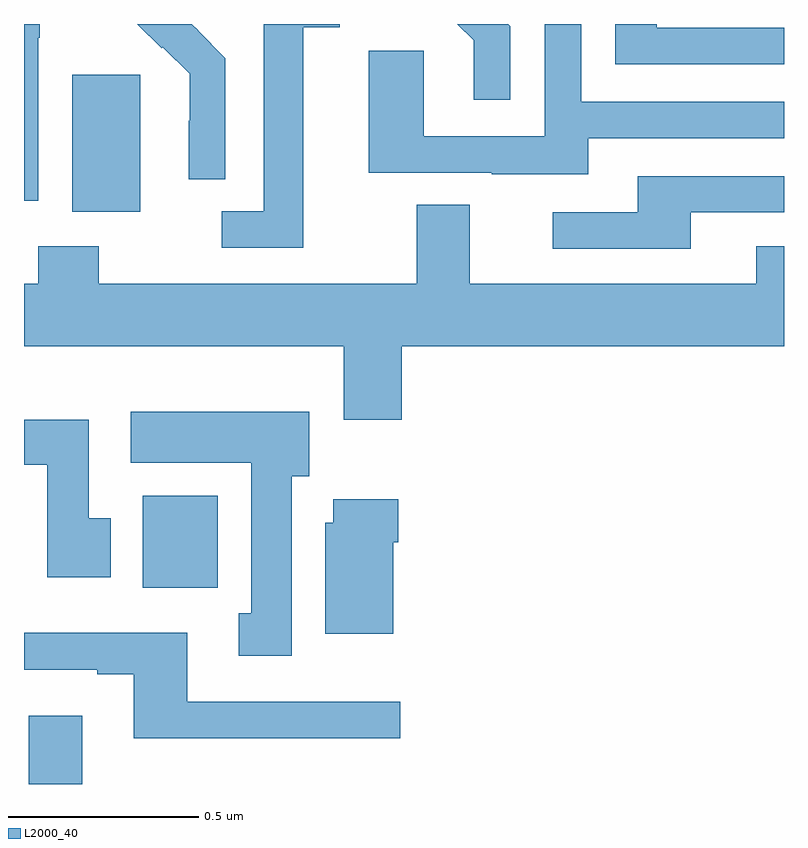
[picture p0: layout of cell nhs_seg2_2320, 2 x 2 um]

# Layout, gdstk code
import gdstk
lib = gdstk.Library(unit=1e-6, precision=1e-09)
def R(c, l, rs):  # rectangles x0, y0, x1, y1
    for r in rs: c.add(gdstk.rectangle(r[:2], r[2:], *l))
def P(c, l, *ps):  # polygons
    for p in ps: c.add(gdstk.Polygon(p, *l))
L2000_40 = (2000, 40)

nhs_seg2_2320 = lib.new_cell('nhs_seg2_2320')
R(nhs_seg2_2320, L2000_40, [(139.013,663.8,139.153,663.979), (139.313,664.316,139.51,664.558), (139.127,665.306,139.306,665.667)])
P(nhs_seg2_2320, L2000_40, [(140.28,665.794),(140.274,665.8),(140.14,665.8),(140.183,665.757),(140.183,665.601),(140.28,665.601)],
  [(139.735,665.792),(139.831,665.792),(139.831,665.8),(139.631,665.8),(139.631,665.307),(139.521,665.307),(139.521,665.211),(139.735,665.211)],
  [(139.038,665.764),(139.041,665.764),(139.041,665.8),(139,665.8),(139,665.335),(139.038,665.335)],
  [(139.53,665.71),(139.457,665.783),(139.458,665.784),(139.442,665.8),(139.298,665.8),(139.362,665.736),(139.365,665.739),(139.436,665.669),(139.436,665.546),(139.434,665.546),(139.434,665.392),(139.53,665.392)],
  [(141,665.79),(140.665,665.79),(140.665,665.8),(140.556,665.8),(140.556,665.694),(141,665.694)],
  [(140.485,665.499),(141,665.499),(141,665.595),(140.466,665.595),(140.466,665.8),(140.37,665.8),(140.37,665.505),(140.052,665.505),(140.052,665.729),(139.907,665.729),(139.907,665.409),(140.231,665.409),(140.231,665.405),(140.485,665.405)],
  [(140.755,665.304),(141,665.304),(141,665.4),(140.615,665.4),(140.615,665.304),(140.391,665.304),(140.391,665.208),(140.755,665.208)],
  [(139.994,664.952),(141,664.952),(141,665.215),(140.927,665.215),(140.927,665.116),(140.173,665.116),(140.173,665.324),(140.033,665.324),(140.033,665.116),(139.197,665.116),(139.197,665.215),(139.037,665.215),(139.037,665.116),(139,665.116),(139,664.952),(139.841,664.952),(139.841,664.758),(139.994,664.758)],
  [(139.705,664.61),(139.75,664.61),(139.75,664.78),(139.281,664.78),(139.281,664.646),(139.598,664.646),(139.598,664.25),(139.565,664.25),(139.565,664.137),(139.705,664.137)],
  [(139.228,664.5),(139.171,664.5),(139.171,664.759),(139,664.759),(139,664.64),(139.061,664.64),(139.061,664.344),(139.228,664.344)],
  [(139.972,664.436),(139.985,664.436),(139.985,664.549),(139.814,664.549),(139.814,664.488),(139.793,664.488),(139.793,664.196),(139.972,664.196)],
  [(139.99,664.017),(139.429,664.017),(139.429,664.198),(139,664.198),(139,664.101),(139.193,664.101),(139.193,664.089),(139.289,664.089),(139.289,663.92),(139.99,663.92)])

lib.write_gds('nhs_seg2_2320.gds')
